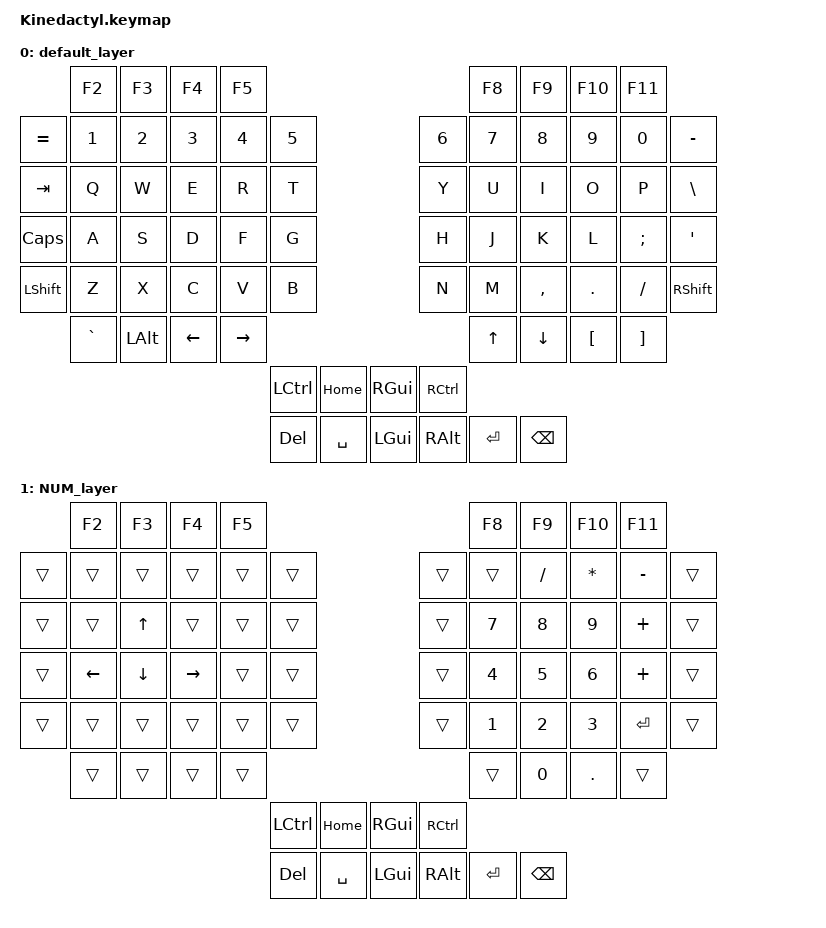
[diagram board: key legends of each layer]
#include <behaviors.dtsi>
#include <dt-bindings/zmk/keys.h>
#include <dt-bindings/zmk/bt.h>
#include <dt-bindings/zmk/outputs.h>

#define DEFAULT 0
#define NUM     1




/ {
    keymap {
        compatible = "zmk,keymap";
        default_layer {
            bindings = <
              &kp F2    &kp F3   &kp F4    &kp F5                                                                      &kp F8    &kp F9    &kp F10   &kp F11          
    &kp EQUAL &kp N1    &kp N2   &kp N3    &kp N4    &kp N5                                                  &kp N6    &kp N7    &kp N8    &kp N9    &kp N0   &kp MINUS
    &kp TAB   &kp Q     &kp W    &kp E     &kp R     &kp T                                                   &kp Y     &kp U     &kp I     &kp O     &kp P    &kp BSLH
    &kp CAPS  &kp A     &kp S    &kp D     &kp F     &kp G                                                   &kp H     &kp J     &kp K     &kp L     &kp SEMI &kp SQT
    &kp LSHFT &kp Z     &kp X    &kp C     &kp V     &kp B                                                   &kp N     &kp M     &kp COMMA &kp DOT   &kp FSLH &kp RSHFT
              &kp GRAVE &kp LALT &kp LEFT  &kp RIGHT                                                                   &kp UP    &kp DOWN  &kp LBKT  &kp RBKT
                                                              &kp LCTRL &kp HOME        &kp RGUI   &kp RCTRL
                                                     &kp DEL  &kp SPACE &kp LGUI        &kp RALT   &kp RET  &kp BSPC
                                           
            >;
        };

        NUM_layer {
            bindings = <
            
             &kp F2     &kp F3     &kp F4     &kp F5                                                                   &kp F8    &kp F9    &kp F10   &kp F11   
    &trans   &trans     &trans     &trans     &trans     &trans                                             &trans     &trans    &kp SLASH &kp ASTERISK &kp MINUS  &trans  
    &trans   &trans     &kp UP     &trans     &trans     &trans                                             &trans     &kp N7    &kp N8    &kp N9       &kp PLUS   &trans  
    &trans   &kp LEFT   &kp DOWN   &kp RIGHT  &trans     &trans                                             &trans     &kp N4    &kp N5    &kp N6       &kp PLUS   &trans  
    &trans   &trans     &trans     &trans     &trans     &trans                                             &trans     &kp N1    &kp N2    &kp N3       &kp RET       &trans  
             &trans     &trans     &trans     &trans                                                                   &trans    &kp N0    &kp DOT      &trans 
                                                              &kp LCTRL &kp HOME        &kp RGUI   &kp RCTRL
                                                     &kp DEL  &kp SPACE &kp LGUI        &kp RALT   &kp RET  &kp BSPC
            >;
        };
    };
};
